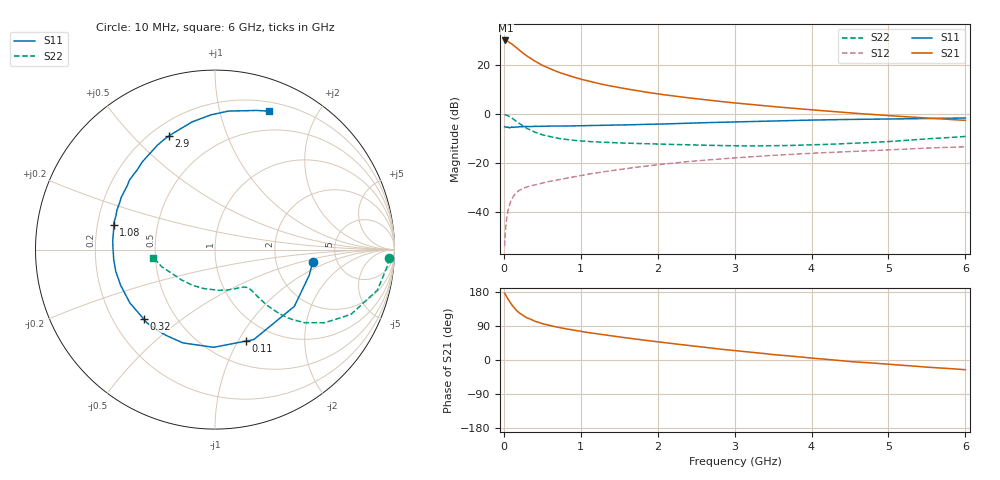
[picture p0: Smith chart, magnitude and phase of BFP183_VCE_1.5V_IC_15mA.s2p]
! Infineon Technologies  Discrete & RF Semiconductors
! BFP183
! VCE = 1.5 V,  IC =  15 mA
! Common Emitter S-Parameters:  Jan 2016
# GHz  S  MA  R  50
!  f  S11  S21  S12  S22
! GHz  MAG  ANG  MAG  ANG  MAG  ANG  MAG  ANG
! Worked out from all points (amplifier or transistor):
!   210 points, 10 MHz to 6 GHz, reference 50 ohm
!   highest |S21| = 30.0 dB at 20 MHz (marker M1)
!   |S21| within 3 dB of that: start of sweep to 165.2 MHz
!   unconditionally stable (mu >= 1): 855.8 MHz to 5.748 GHz
!   at 185 MHz: K = 0.35, MSG = 29.0 dB, |S12| = -31.6 dB
!   at 1.52 GHz: K = 1.16, MAG = 14.2 dB, |S12| = -22.6 dB
!   at 6 GHz: K = 0.97, MSG = 5.4 dB, |S12| = -13.4 dB
!   S11 on the Smith chart (normalised r, x): 10 MHz: 3.29, -0.65; 110 MHz: 0.75, -1.08; 320 MHz: 0.33, -0.37; 1.08 GHz: 0.27, +0.11; 2.9 GHz: 0.27, +0.64; 6 GHz: 0.29, +1.42
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0.01  0.5485 -7.2  31.71 176.3  0.002 86.2  0.9715 -2.8
0.02  0.544 -15.3  31.73 172.9  0.0039 81.7  0.9635 -5.7
0.05  0.5436 -35.6  30.63 161.7  0.01 79.4  0.9328 -14.0
0.1  0.5458 -66.7  27.16 146.2  0.0182 64.0  0.8388 -25.5
0.11  0.5379 -71.4  26.34 144.0  0.0193 62.1  0.8164 -27.0
0.15  0.5445 -90.8  23.52 133.7  0.0238 56.3  0.733 -33.8
0.2  0.5497 -108.9  20.23 124.3  0.0276 51.6  0.6425 -39.3
0.26  0.5524 -124.3  16.98 116.0  0.0306 47.4  0.5564 -43.1
0.32  0.5543 -135.7  14.62 109.9  0.0331 45.6  0.492 -45.2
0.4  0.5596 -147.9  12.09 102.5  0.0357 45.1  0.4275 -46.9
0.5  0.5619 -159.0  9.865 96.0  0.039 44.4  0.3769 -47.6
0.6  0.5663 -167.5  8.407 90.8  0.0422 45.1  0.3436 -47.9
0.8  0.5683 179.8  6.393 82.4  0.0482 47.1  0.3031 -48.2
1.02  0.5756 168.8  5.05 74.9  0.0559 48.6  0.28 -49.4
1.08  0.5808 166.2  4.785 73.0  0.0585 48.7  0.2756 -49.9
1.5  0.5982 150.9  3.451 60.8  0.0736 49.3  0.2568 -54.8
2.02  0.6212 134.1  2.545 47.5  0.0927 47.1  0.2435 -64.4
2.9  0.6822 112.2  1.746 26.9  0.1235 40.8  0.226 -87.1
3.1  0.6935 107.9  1.626 23.0  0.1299 39.2  0.2234 -93.2
4.1  0.7549 90.2  1.182 3.4  0.1602 30.9  0.2368 -125.3
5.1  0.7925 77.5  0.904 -12.6  0.1873 23.5  0.2797 -153.1
6  0.8281 68.7  0.741 -25.6  0.2141 15.1  0.3476 -172.4
